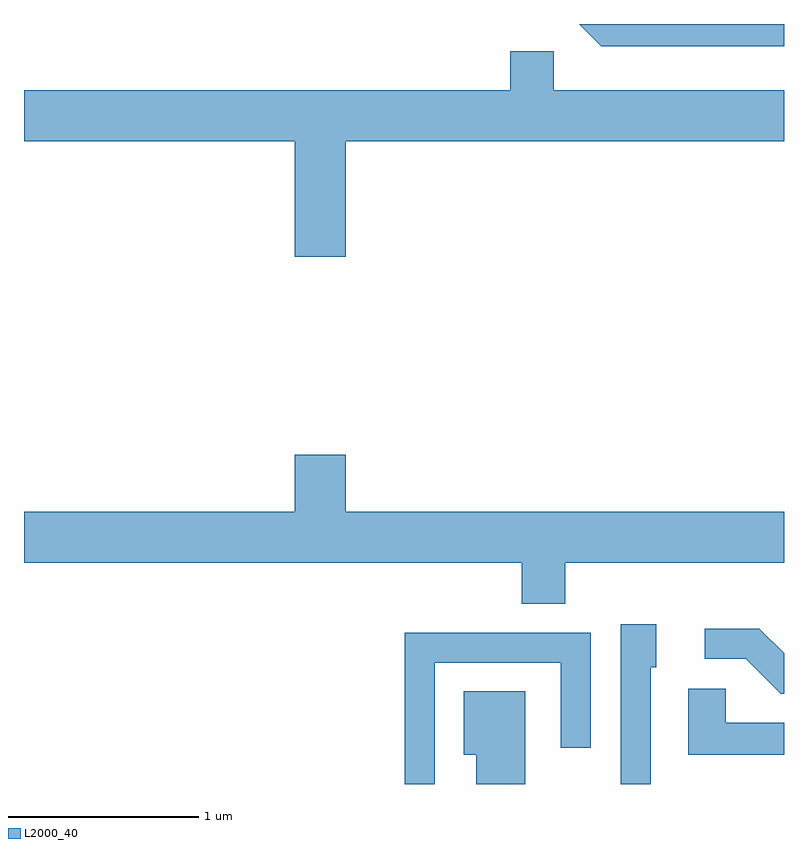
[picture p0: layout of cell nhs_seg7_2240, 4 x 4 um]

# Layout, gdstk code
import gdstk
lib = gdstk.Library(unit=1e-6, precision=1e-09)
def P(c, l, *ps):  # polygons
    for p in ps: c.add(gdstk.Polygon(p, *l))
L2000_40 = (2000, 40)

nhs_seg7_2240 = lib.new_cell('nhs_seg7_2240')
P(nhs_seg7_2240, L2000_40, [(257.611,1728.252),(256.533,1728.252),(256.649,1728.136),(257.611,1728.136)],
  [(255.304,1727.636),(257.611,1727.636),(257.611,1727.904),(256.399,1727.904),(256.399,1728.109),(256.171,1728.109),(256.171,1727.904),(253.611,1727.904),(253.611,1727.636),(255.036,1727.636),(255.036,1727.026),(255.304,1727.026)],
  [(256.459,1725.416),(257.611,1725.416),(257.611,1725.684),(255.304,1725.684),(255.304,1725.984),(255.036,1725.984),(255.036,1725.684),(253.611,1725.684),(253.611,1725.416),(256.231,1725.416),(256.231,1725.201),(256.459,1725.201)],
  [(256.909,1724.866),(256.939,1724.866),(256.939,1725.094),(256.751,1725.094),(256.751,1724.252),(256.909,1724.252)],
  [(257.611,1724.939),(257.481,1725.069),(257.193,1725.069),(257.193,1724.911),(257.409,1724.911),(257.594,1724.726),(257.611,1724.726)],
  [(255.774,1724.891),(256.436,1724.891),(256.436,1724.443),(256.594,1724.443),(256.594,1725.049),(255.616,1725.049),(255.616,1724.252),(255.774,1724.252)],
  [(257.611,1724.574),(257.304,1724.574),(257.304,1724.754),(257.106,1724.754),(257.106,1724.406),(257.611,1724.406)],
  [(256.249,1724.739),(255.926,1724.739),(255.926,1724.406),(255.991,1724.406),(255.991,1724.252),(256.249,1724.252)])

lib.write_gds('nhs_seg7_2240.gds')
